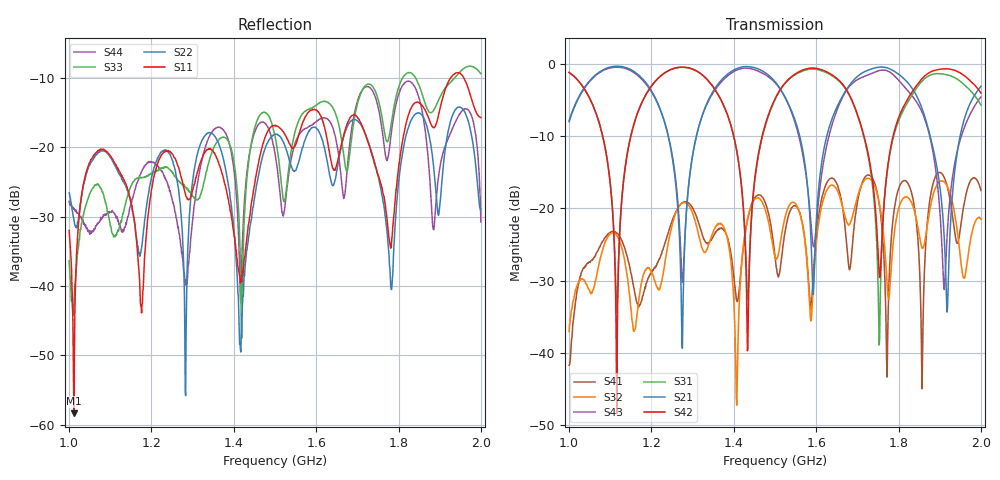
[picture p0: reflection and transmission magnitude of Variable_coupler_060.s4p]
#  HZ  S  DB  R  50.00
! Rohde & Schwarz Vector Network Analyzer
! Rohde-Schwarz,ZNB8-4Port,1311601044102961,2.82
! Created: UTC 1/17/2019, 3:13:31 PM
! freq[Hz]  db:S11  ang:S11  db:S12  ang:S12  db:S13  ang:S13  db:S14  ang:S14
!  db:S21  ang:S21  db:S22  ang:S22  db:S23  ang:S23  db:S24  ang:S24
!  db:S31  ang:S31  db:S32  ang:S32  db:S33  ang:S33  db:S34  ang:S34
!  db:S41  ang:S41  db:S42  ang:S42  db:S43  ang:S43  db:S44  ang:S44
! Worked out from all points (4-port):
!   1001 points, 1 GHz to 2 GHz, reference 50 ohm
!   strongest paths, dB at 1 GHz, 1.25 GHz, 1.5 GHz, 1.75 GHz, 2 GHz:
!     S42: -1.2, -0.7, -4.8, -25.6, -4.0
!     S21: -7.9, -12.8, -2.4, -0.5, -3.1
!     S31: -1.2, -0.7, -4.9, -29.9, -5.7
!     S43: -8.0, -12.5, -2.6, -1.0, -4.6
!     S32: -37.0, -22.3, -26.7, -18.4, -21.5
!     S41: -41.7, -21.8, -26.6, -18.3, -17.5
!   lowest |S11| = -58.3 dB at 1.012 GHz (marker M1), VSWR 1.00, Z = 50.1 + j0.0306 ohm
!   |S11| at or under -10 dB: start of sweep to 1.926 GHz; 1.959 GHz to end of sweep
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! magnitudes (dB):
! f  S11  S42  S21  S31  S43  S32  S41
! 1 GHz  -32.0  -1.2  -7.9  -1.2  -8.0  -37.0  -41.7
! 1.012 GHz  -58.3  -1.7  -6.0  -1.7  -6.1  -32.3  -34.6
! 1.116 GHz  -22.8  -48.3  -0.3  -34.3  -0.5  -23.7  -23.4
! 1.275 GHz  -24.9  -0.4  -39.3  -0.5  -30.2  -19.3  -19.2
! 1.434 GHz  -31.9  -39.4  -0.4  -32.6  -0.6  -21.2  -21.4
! 1.918 GHz  -10.9  -0.7  -34.3  -1.5  -23.7  -16.9  -16.9
! 2 GHz  -15.7  -4.0  -3.1  -5.7  -4.6  -21.5  -17.5
